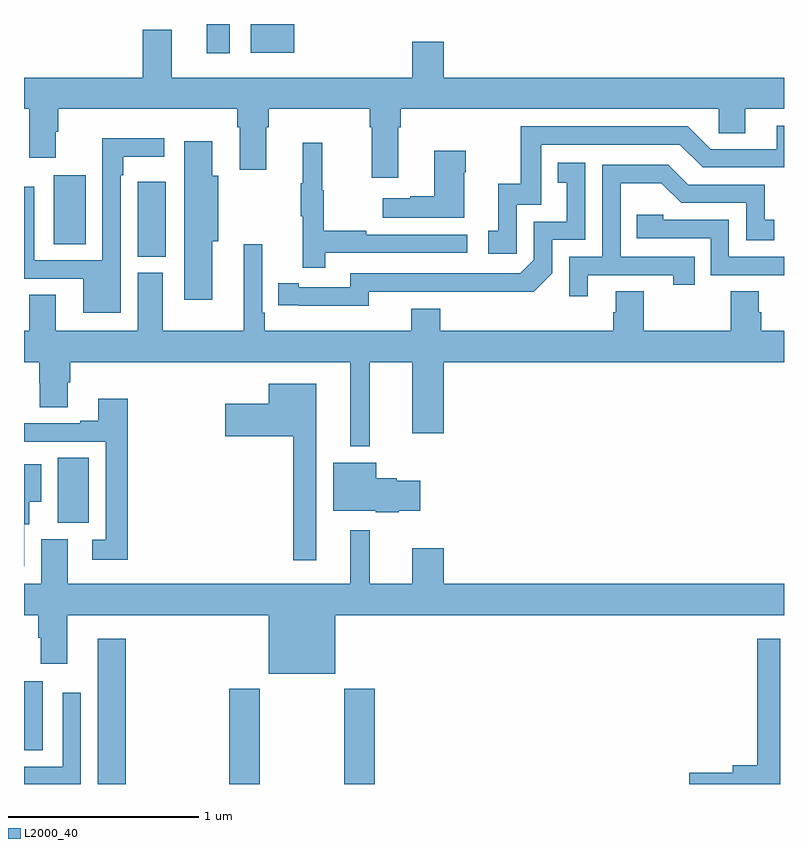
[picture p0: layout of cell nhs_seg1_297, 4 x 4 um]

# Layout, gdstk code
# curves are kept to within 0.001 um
import gdstk
lib = gdstk.Library(unit=1e-6, precision=1e-09)
def R(c, l, rs):  # rectangles x0, y0, x1, y1
    for r in rs: c.add(gdstk.rectangle(r[:2], r[2:], *l))
def P(c, l, *ps):  # polygons
    for p in ps: c.add(gdstk.Polygon(p, *l))
L2000_40 = (2000, 40)

nhs_seg1_297 = lib.new_cell('nhs_seg1_297')
R(nhs_seg1_297, L2000_40, [(127.388,528.199,127.535,528.964), (128.081,528.199,128.241,528.7), (128.686,528.199,128.846,528.7), (127,528.376,127.099,528.739), (127.178,529.573,127.342,529.916), (127.598,530.974,127.747,531.37), (127.157,531.04,127.324,531.403), (127.961,532.044,128.083,532.199), (128.193,532.049,128.423,532.199)])
P(nhs_seg1_297, L2000_40, [(128.971,531.656),(128.983,531.656),(128.983,531.752),(130.656,531.752),(130.656,531.625),(130.795,531.625),(130.795,531.752),(131,531.752),(131,531.916),(129.208,531.916),(129.208,532.105),(129.044,532.105),(129.044,531.916),(127.777,531.916),(127.777,532.168),(127.625,532.168),(127.625,531.916),(127,531.916),(127,531.752),(127.028,531.752),(127.028,531.495),(127.168,531.495),(127.168,531.632),(127.181,531.632),(127.181,531.752),(128.123,531.752),(128.123,531.656),(128.135,531.656),(128.135,531.432),(128.275,531.432),(128.275,531.656),(128.288,531.656),(128.288,531.752),(128.819,531.752),(128.819,531.656),(128.831,531.656),(128.831,531.39),(128.971,531.39)],
  [(129.594,531.249),(129.723,531.249),(129.723,531.564),(130.452,531.564),(130.572,531.444),(131,531.444),(131,531.663),(130.961,531.663),(130.961,531.54),(130.614,531.54),(130.494,531.66),(129.614,531.66),(129.614,531.358),(129.497,531.358),(129.497,531.111),(129.444,531.111),(129.444,530.991),(129.594,530.991)],
  [(127.509,531.404),(127.522,531.404),(127.522,531.5),(127.738,531.5),(127.738,531.598),(127.413,531.598),(127.413,530.955),(127.053,530.955),(127.053,531.343),(127,531.343),(127,530.859),(127.313,530.859),(127.313,530.678),(127.509,530.678)],
  [(127.99,531.056),(128.023,531.056),(128.023,531.4),(127.99,531.4),(127.99,531.583),(127.844,531.583),(127.844,530.748),(127.99,530.748)],
  [(128.585,530.994),(129.334,530.994),(129.334,531.09),(128.801,531.09),(128.801,531.11),(128.578,531.11),(128.578,531.324),(128.57,531.324),(128.57,531.574),(128.468,531.574),(128.468,531.361),(128.457,531.361),(128.457,531.187),(128.468,531.187),(128.468,530.916),(128.585,530.916)],
  [(129.316,531.419),(129.324,531.419),(129.324,531.532),(129.158,531.532),(129.158,531.293),(129.032,531.293),(129.032,531.283),(128.889,531.283),(128.889,531.179),(129.316,531.179)],
  [(128.814,530.79),(129.682,530.789),(129.78,530.886),(129.78,531.063),(129.954,531.063),(129.954,531.469),(129.808,531.469),(129.808,531.363),(129.857,531.363),(129.857,531.159),(129.684,531.159),(129.684,530.958),(129.612,530.886),(128.718,530.886),(128.718,530.814),(128.446,530.814),(128.446,530.834),(128.338,530.834),(128.338,530.718),(128.814,530.717)],
  [(129.967,530.877),(130.418,530.877),(130.418,530.826),(130.529,530.826),(130.529,530.973),(130.14,530.973),(130.14,531.362),(130.354,531.362),(130.458,531.258),(130.8,531.258),(130.8,531.06),(130.948,531.06),(130.948,531.169),(130.899,531.169),(130.899,531.354),(130.495,531.354),(130.39,531.459),(130.044,531.459),(130.044,530.973),(129.87,530.973),(129.87,530.766),(129.967,530.766)],
  [(131,530.973),(130.71,530.973),(130.71,531.168),(130.365,531.168),(130.365,531.195),(130.225,531.195),(130.225,531.072),(130.614,531.072),(130.614,530.877),(131,530.877)],
  [(128.821,530.42),(129.044,530.42),(129.044,530.046),(129.208,530.046),(129.208,530.42),(131,530.42),(131,530.584),(130.88,530.584),(130.88,530.682),(130.867,530.682),(130.867,530.792),(130.72,530.792),(130.72,530.584),(130.263,530.584),(130.263,530.792),(130.115,530.792),(130.115,530.682),(130.102,530.682),(130.102,530.584),(129.191,530.584),(129.191,530.701),(129.038,530.701),(129.038,530.584),(128.267,530.584),(128.267,530.68),(128.253,530.68),(128.253,531.04),(128.156,531.04),(128.156,530.584),(127.729,530.584),(127.729,530.889),(127.598,530.889),(127.598,530.584),(127.168,530.584),(127.168,530.774),(127.028,530.774),(127.028,530.584),(127,530.584),(127,530.42),(127.079,530.42),(127.079,530.307),(127.084,530.307),(127.084,530.182),(127.231,530.182),(127.231,530.314),(127.244,530.314),(127.244,530.42),(128.717,530.42),(128.717,529.976),(128.821,529.976)],
  [(128.539,530.305),(128.288,530.305),(128.288,530.2),(128.058,530.2),(128.058,530.03),(128.418,530.03),(128.418,529.377),(128.539,529.377)],
  [(127.547,530.227),(127.391,530.227),(127.391,530.11),(127.295,530.11),(127.295,530.097),(127,530.097),(127,530.001),(127.431,530.001),(127.431,529.485),(127.359,529.485),(127.359,529.38),(127.547,529.38)],
  [(128.972,529.637),(129.085,529.637),(129.085,529.795),(128.961,529.795),(128.961,529.808),(128.854,529.808),(128.854,529.891),(128.627,529.891),(128.627,529.637),(128.85,529.637),(128.85,529.63),(128.972,529.63)],
  [(127.002,529.566),(127.027,529.566),(127.027,529.685),(127.09,529.685),(127.09,529.882),(127,529.882),(127,529.344),(127.002,529.344)],
  [(128.638,529.088),(131,529.088),(131,529.252),(129.208,529.252),(129.208,529.441),(129.044,529.441),(129.044,529.252),(128.821,529.252),(128.821,529.534),(128.717,529.534),(128.717,529.252),(127.231,529.252),(127.231,529.488),(127.091,529.488),(127.091,529.252),(127,529.252),(127,529.088),(127.076,529.088),(127.076,528.968),(127.088,528.968),(127.088,528.831),(127.228,528.831),(127.228,529.088),(128.288,529.088),(128.288,528.779),(128.638,528.779)],
  [(130.981,528.964),(130.86,528.964),(130.86,528.298),(130.73,528.298),(130.73,528.257),(130.5,528.257),(130.5,528.199),(130.981,528.199)],
  [(127.299,528.679),(127.203,528.679),(127.203,528.291),(127,528.291),(127,528.199),(127.299,528.199)])

lib.write_gds('nhs_seg1_297.gds')
